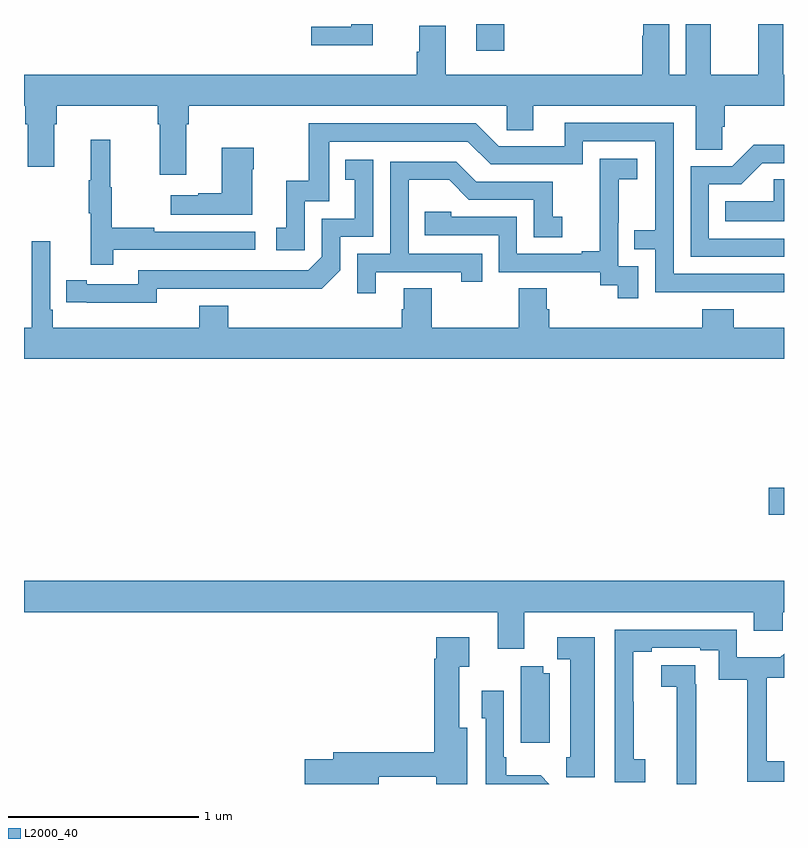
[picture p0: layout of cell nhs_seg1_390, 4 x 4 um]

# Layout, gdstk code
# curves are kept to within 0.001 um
import gdstk
lib = gdstk.Library(unit=1e-6, precision=1e-09)
def R(c, l, rs):  # rectangles x0, y0, x1, y1
    for r in rs: c.add(gdstk.rectangle(r[:2], r[2:], *l))
def P(c, l, *ps):  # polygons
    for p in ps: c.add(gdstk.Polygon(p, *l))
L2000_40 = (2000, 40)

nhs_seg1_390 = lib.new_cell('nhs_seg1_390')
R(nhs_seg1_390, L2000_40, [(136.92,513.616,137,513.758), (135.38,516.057,135.527,516.199)])
P(nhs_seg1_390, L2000_40, [(134.835,516.199),(134.723,516.199),(134.723,516.184),(134.511,516.184),(134.511,516.086),(134.835,516.086)],
  [(133.855,515.672),(133.868,515.672),(133.868,515.768),(135.54,515.768),(135.54,515.641),(135.679,515.641),(135.679,515.768),(136.535,515.768),(136.535,515.536),(136.674,515.536),(136.674,515.659),(136.688,515.659),(136.688,515.768),(137,515.768),(137,515.932),(136.996,515.932),(136.996,516.199),(136.865,516.199),(136.865,515.932),(136.615,515.932),(136.615,516.199),(136.484,516.199),(136.484,515.932),(136.396,515.932),(136.396,516.199),(136.259,516.199),(136.259,516.137),(136.253,516.137),(136.253,515.932),(135.22,515.932),(135.22,516.19),(135.08,516.19),(135.08,516.053),(135.068,516.053),(135.068,515.932),(133,515.932),(133,515.768),(133.007,515.768),(133.007,515.672),(133.019,515.672),(133.019,515.448),(133.159,515.448),(133.159,515.672),(133.172,515.672),(133.172,515.768),(133.703,515.768),(133.703,515.672),(133.715,515.672),(133.715,515.406),(133.855,515.406)],
  [(137,514.884),(136.419,514.884),(136.419,515.679),(135.845,515.679),(135.845,515.556),(135.498,515.556),(135.378,515.676),(134.499,515.676),(134.499,515.374),(134.381,515.374),(134.381,515.127),(134.328,515.127),(134.328,515.007),(134.478,515.007),(134.478,515.265),(134.607,515.265),(134.607,515.58),(135.336,515.58),(135.456,515.46),(135.942,515.46),(135.942,515.583),(136.323,515.583),(136.323,515.114),(136.213,515.114),(136.213,515.013),(136.323,515.013),(136.323,514.788),(137,514.787)],
  [(133.469,515.01),(134.218,515.01),(134.218,515.106),(133.685,515.106),(133.685,515.126),(133.462,515.126),(133.462,515.34),(133.454,515.34),(133.454,515.59),(133.352,515.59),(133.352,515.377),(133.341,515.377),(133.341,515.203),(133.352,515.203),(133.352,514.932),(133.469,514.932)],
  [(137,515.07),(136.605,515.07),(136.605,515.355),(136.774,515.355),(136.885,515.466),(137,515.466),(137,515.564),(136.841,515.564),(136.728,515.451),(136.509,515.451),(136.509,514.974),(137,514.974)],
  [(134.2,515.435),(134.208,515.435),(134.208,515.548),(134.042,515.548),(134.042,515.309),(133.916,515.309),(133.916,515.299),(133.773,515.299),(133.773,515.195),(134.2,515.195)],
  [(136.233,514.923),(136.128,514.923),(136.128,515.153),(136.13,515.153),(136.13,515.381),(136.228,515.381),(136.228,515.491),(136.03,515.491),(136.03,515.285),(136.031,515.285),(136.031,515.002),(135.935,515.002),(135.935,514.989),(135.594,514.989),(135.594,515.184),(135.249,515.184),(135.249,515.211),(135.109,515.211),(135.109,515.088),(135.498,515.088),(135.498,514.893),(136.032,514.893),(136.032,514.825),(136.125,514.825),(136.125,514.755),(136.233,514.755)],
  [(133.698,514.806),(134.566,514.805),(134.664,514.902),(134.664,515.079),(134.838,515.079),(134.838,515.485),(134.692,515.485),(134.692,515.379),(134.741,515.379),(134.741,515.175),(134.568,515.175),(134.568,514.974),(134.496,514.902),(133.602,514.902),(133.602,514.83),(133.33,514.83),(133.33,514.85),(133.222,514.85),(133.222,514.734),(133.698,514.733)],
  [(134.851,514.893),(135.302,514.893),(135.302,514.842),(135.413,514.842),(135.413,514.989),(135.024,514.989),(135.024,515.378),(135.238,515.378),(135.342,515.274),(135.684,515.274),(135.684,515.076),(135.832,515.076),(135.832,515.185),(135.783,515.185),(135.783,515.37),(135.379,515.37),(135.274,515.475),(134.928,515.475),(134.928,514.989),(134.754,514.989),(134.754,514.782),(134.851,514.782)],
  [(137,515.381),(136.947,515.381),(136.947,515.266),(136.69,515.266),(136.69,515.162),(137,515.162)],
  [(133.922,514.717),(133.922,514.6),(133.151,514.6),(133.151,514.696),(133.137,514.696),(133.137,515.056),(133.04,515.056),(133.04,514.6),(133,514.6),(133,514.436),(137,514.436),(137,514.6),(136.736,514.6),(136.736,514.699),(136.571,514.699),(136.571,514.6),(135.764,514.6),(135.764,514.698),(135.751,514.698),(135.751,514.808),(135.604,514.808),(135.604,514.6),(135.147,514.6),(135.147,514.808),(134.999,514.808),(134.999,514.698),(134.987,514.698),(134.987,514.6),(134.075,514.6),(134.075,514.717)],
  [(135.634,513.104),(136.841,513.104),(136.841,513.006),(136.993,513.006),(136.993,513.104),(137,513.104),(137,513.268),(133,513.268),(133,513.104),(135.494,513.104),(135.494,512.91),(135.634,512.91)],
  [(136.27,512.329),(136.209,512.329),(136.209,512.633),(136.207,512.633),(136.207,512.896),(136.303,512.896),(136.303,512.916),(136.559,512.916),(136.559,512.902),(136.656,512.902),(136.656,512.749),(136.807,512.749),(136.807,512.211),(137,512.211),(137,512.32),(136.91,512.32),(136.91,512.757),(137,512.757),(137,512.885),(136.981,512.866),(136.752,512.866),(136.752,513.012),(136.11,513.012),(136.11,512.209),(136.27,512.209)],
  [(136.003,512.971),(135.807,512.971),(135.807,512.856),(135.875,512.856),(135.875,512.34),(135.853,512.34),(135.853,512.235),(136.003,512.235)],
  [(134.866,512.238),(135.17,512.238),(135.17,512.199),(135.334,512.199),(135.334,512.494),(135.292,512.494),(135.292,512.815),(135.343,512.815),(135.343,512.971),(135.17,512.971),(135.17,512.858),(135.158,512.858),(135.158,512.366),(134.627,512.366),(134.627,512.33),(134.478,512.33),(134.478,512.199),(134.866,512.199)],
  [(136.538,512.723),(136.532,512.723),(136.532,512.825),(136.353,512.825),(136.353,512.71),(136.435,512.71),(136.435,512.427),(136.436,512.427),(136.436,512.199),(136.538,512.199)],
  [(135.766,512.782),(135.734,512.782),(135.734,512.819),(135.614,512.819),(135.614,512.415),(135.766,512.415)],
  [(135.719,512.245),(135.538,512.245),(135.538,512.341),(135.525,512.341),(135.525,512.689),(135.408,512.689),(135.408,512.544),(135.429,512.544),(135.429,512.199),(135.765,512.199)])

lib.write_gds('nhs_seg1_390.gds')
